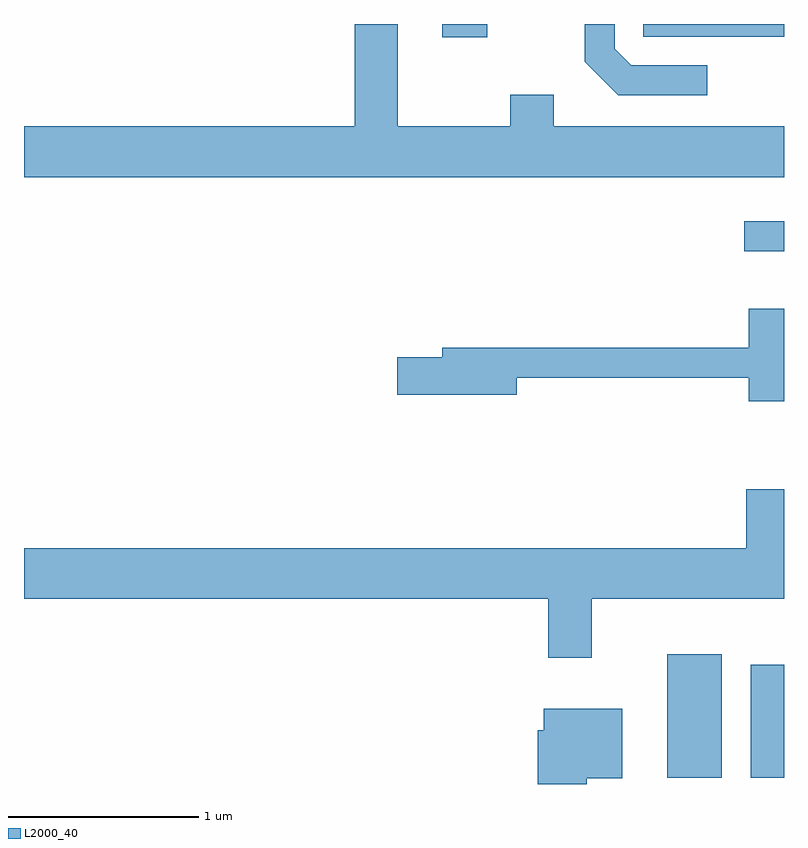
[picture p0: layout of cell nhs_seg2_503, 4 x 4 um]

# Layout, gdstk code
import gdstk
lib = gdstk.Library(unit=1e-6, precision=1e-09)
def R(c, l, rs):  # rectangles x0, y0, x1, y1
    for r in rs: c.add(gdstk.rectangle(r[:2], r[2:], *l))
def P(c, l, *ps):  # polygons
    for p in ps: c.add(gdstk.Polygon(p, *l))
L2000_40 = (2000, 40)

nhs_seg2_503 = lib.new_cell('nhs_seg2_503')
R(nhs_seg2_503, L2000_40, [(202.996,1031.836,203.284,1032.484), (203.436,1031.836,203.611,1032.429), (203.403,1034.606,203.611,1034.764), (201.811,1035.731,202.048,1035.802), (202.871,1035.736,203.611,1035.802)])
P(nhs_seg2_503, L2000_40, [(203.611,1035.264),(202.399,1035.264),(202.399,1035.429),(202.171,1035.429),(202.171,1035.264),(201.579,1035.264),(201.579,1035.802),(201.351,1035.802),(201.351,1035.264),(199.611,1035.264),(199.611,1034.996),(203.611,1034.996)],
  [(203.208,1035.584),(202.807,1035.584),(202.719,1035.671),(202.719,1035.802),(202.561,1035.802),(202.561,1035.603),(202.739,1035.426),(203.208,1035.426)],
  [(203.611,1034.304),(203.426,1034.304),(203.426,1034.099),(201.811,1034.099),(201.811,1034.049),(201.576,1034.049),(201.576,1033.851),(202.204,1033.851),(202.204,1033.941),(203.426,1033.941),(203.426,1033.816),(203.611,1033.816)],
  [(202.599,1032.776),(203.611,1032.776),(203.611,1033.354),(203.411,1033.354),(203.411,1033.044),(199.611,1033.044),(199.611,1032.776),(202.371,1032.776),(202.371,1032.466),(202.599,1032.466)],
  [(202.574,1031.831),(202.759,1031.831),(202.759,1032.199),(202.346,1032.199),(202.346,1032.084),(202.316,1032.084),(202.316,1031.802),(202.574,1031.802)])

lib.write_gds('nhs_seg2_503.gds')
